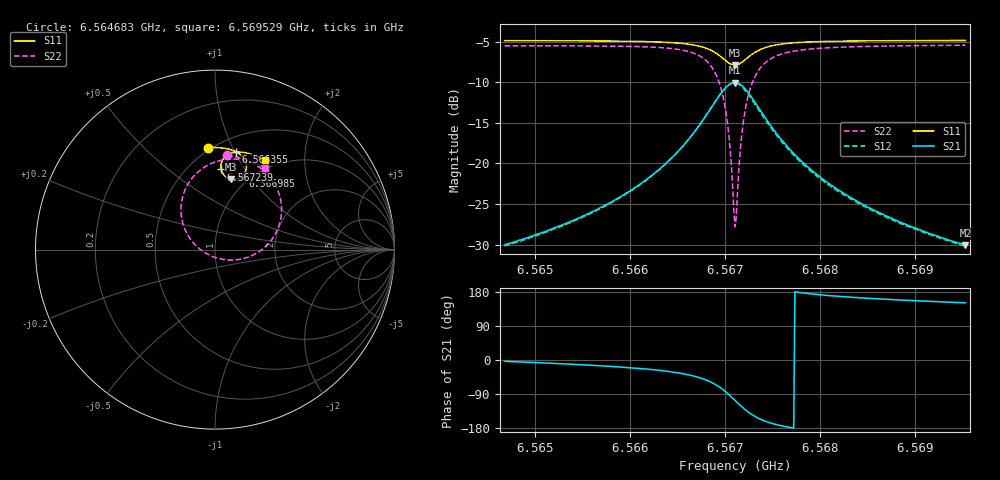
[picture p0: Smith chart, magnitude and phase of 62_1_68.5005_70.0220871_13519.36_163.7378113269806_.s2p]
#  HZ  S  RI  R  50.00
! Rohde & Schwarz Vector Network Analyzer
! Rohde-Schwarz,ZNB20-2Port,1311601062101988,3.16
! Created: UTC 3/20/2024, 4:51:16 PM
! freq[Hz]  re:S11  im:S11  re:S21  im:S21  re:S12  im:S12  re:S22  im:S22
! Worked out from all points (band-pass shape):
!   401 points, 6.564683 GHz to 6.569529 GHz, reference 50 ohm
!   highest |S21| = -10.04 dB at 6.567106 GHz (marker M1); lowest = -30.1 dB at 6.569529 GHz (marker M2)
!   |S21| within 3 dB of the highest: 6.566862 GHz to 6.567348 GHz (485.5 kHz wide, 0.00739 % of centre)
!   lowest |S11| = -7.9 dB at 6.567106 GHz (marker M3), VSWR 2.35, Z = 42.4 + j39.8 ohm
!   |S11| at or under -10 dB: nowhere
!   |S22| runs from -27.8 to -5.4 dB; largest |S21 - S12| = 0.016
!   S11 on the Smith chart (normalised r, x): 6.564683 GHz: 0.48, +0.81; 6.566355 GHz: 0.64, +1.01; 6.566985 GHz: 0.91, +0.93; 6.567239 GHz: 0.71, +0.79; 6.569529 GHz: 0.87, +1.29
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6.5646828e9  -0.0365 0.5682  0.0314 -0.00191  0.031 -0.00229  0.0672 0.525
6.5654945e9  0.0318 0.5671  0.046 -0.0103  0.0452 -0.0107  0.1495 0.5075
6.5659548e9  0.0747 0.5602  0.0616 -0.0219  0.0605 -0.0224  0.2093 0.4824
6.5663062e9  0.1122 0.5477  0.0815 -0.0419  0.0804 -0.0429  0.2705 0.4408
6.5663546e9  0.1179 0.545  0.0853 -0.0464  0.084 -0.0474  0.2803 0.4316
6.566609e9  0.1503 0.5215  0.1081 -0.0867  0.1066 -0.0885  0.3399 0.3527
6.5667907e9  0.1718 0.485  0.1193 -0.1513  0.1163 -0.1547  0.371 0.2278
6.5668998e9  0.173 0.4472  0.103 -0.2174  0.0968 -0.222  0.3435 0.1015
6.5669846e9  0.1544 0.4125  0.0534 -0.277  0.0424 -0.2803  0.2501 -0.00848
6.567033e9  0.1319 0.3967  0.00356 -0.3016  -0.0102 -0.302  0.1569 -0.0503
6.5670572e9  0.1179 0.3922  -0.0263 -0.3077  -0.0408 -0.3059  0.102 -0.0582
6.5670936e9  0.0948 0.3913  -0.0739 -0.3056  -0.0885 -0.2996  0.0167 -0.0484
6.5671057e9  0.0871 0.3926  -0.0896 -0.3016  -0.1038 -0.2944  -0.0108 -0.0393
6.5671178e9  0.0797 0.3948  -0.1048 -0.2962  -0.1184 -0.2878  -0.0371 -0.0275
6.5671299e9  0.0725 0.3978  -0.1193 -0.2893  -0.1323 -0.2798  -0.0618 -0.0133
6.5671784e9  0.049 0.4163  -0.1671 -0.2506  -0.176 -0.2377  -0.14 0.0624
6.567239e9  0.0343 0.4465  -0.1991 -0.1907  -0.2023 -0.1771  -0.1854 0.1719
6.5673359e9  0.0376 0.489  -0.2008 -0.1085  -0.1988 -0.0981  -0.1737 0.3154
6.5674813e9  0.0646 0.524  -0.1658 -0.0405  -0.1622 -0.0347  -0.0982 0.4295
6.5679174e9  0.1349 0.5438  -0.0897 0.00914  -0.0875 0.0106  0.067 0.5029
6.568729e9  0.2157 0.5269  -0.0437 0.0161  -0.0428 0.0165  0.2002 0.4888
6.5695286e9  0.277 0.4993  -0.0274 0.0152  -0.0268 0.0154  0.2767 0.4569
